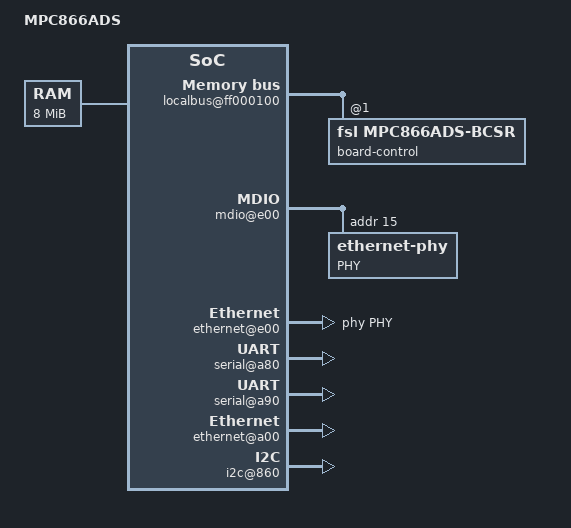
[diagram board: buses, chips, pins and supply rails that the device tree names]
// SPDX-License-Identifier: GPL-2.0-or-later
/*
 * MPC866 ADS Device Tree Source
 *
 * Copyright 2006 MontaVista Software, Inc.
 * Copyright 2008 Freescale Semiconductor, Inc.
 */

/dts-v1/;

/ {
	model = "MPC866ADS";
	compatible = "fsl,mpc866ads";
	#address-cells = <1>;
	#size-cells = <1>;

	cpus {
		#address-cells = <1>;
		#size-cells = <0>;

		PowerPC,866@0 {
			device_type = "cpu";
			reg = <0x0>;
			d-cache-line-size = <16>;	// 16 bytes
			i-cache-line-size = <16>;	// 16 bytes
			d-cache-size = <0x2000>;		// L1, 8K
			i-cache-size = <0x4000>;		// L1, 16K
			timebase-frequency = <0>;
			bus-frequency = <0>;
			clock-frequency = <0>;
			interrupts = <15 2>;	// decrementer interrupt
			interrupt-parent = <&PIC>;
		};
	};

	memory {
		device_type = "memory";
		reg = <0x0 0x800000>;
	};

	localbus@ff000100 {
		compatible = "fsl,mpc866-localbus", "fsl,pq1-localbus";
		#address-cells = <2>;
		#size-cells = <1>;
		reg = <0xff000100 0x40>;

		ranges = <
			0x1 0x0 0xff080000 0x8000
			0x5 0x0 0xff0a0000 0x8000
		>;

		board-control@1,0 {
			reg = <0x1 0x0 0x20 0x5 0x300 0x4>;
			compatible = "fsl,mpc866ads-bcsr";
		};
	};

	soc@ff000000 {
		#address-cells = <1>;
		#size-cells = <1>;
		device_type = "soc";
		ranges = <0x0 0xff000000 0x100000>;
		reg = <0xff000000 0x200>;
		bus-frequency = <0>;

		mdio@e00 {
			compatible = "fsl,mpc866-fec-mdio", "fsl,pq1-fec-mdio";
			reg = <0xe00 0x188>;
			#address-cells = <1>;
			#size-cells = <0>;
			PHY: ethernet-phy@f {
				reg = <0xf>;
			};
		};

		ethernet@e00 {
			device_type = "network";
			compatible = "fsl,mpc866-fec-enet",
			             "fsl,pq1-fec-enet";
			reg = <0xe00 0x188>;
			local-mac-address = [ 00 00 00 00 00 00 ];
			interrupts = <3 1>;
			interrupt-parent = <&PIC>;
			phy-handle = <&PHY>;
			linux,network-index = <0>;
		};

		PIC: pic@0 {
			interrupt-controller;
			#interrupt-cells = <2>;
			reg = <0x0 0x24>;
			compatible = "fsl,mpc866-pic", "fsl,pq1-pic";
		};

		cpm@9c0 {
			#address-cells = <1>;
			#size-cells = <1>;
			compatible = "fsl,mpc866-cpm", "fsl,cpm1";
			ranges;
			reg = <0x9c0 0x40>;
			brg-frequency = <0>;
			interrupts = <0 2>;	// cpm error interrupt
			interrupt-parent = <&CPM_PIC>;

			muram@2000 {
				#address-cells = <1>;
				#size-cells = <1>;
				ranges = <0x0 0x2000 0x2000>;

				data@0 {
					compatible = "fsl,cpm-muram-data";
					reg = <0x0 0x1c00>;
				};
			};

			brg@9f0 {
				compatible = "fsl,mpc866-brg",
					     "fsl,cpm1-brg",
					     "fsl,cpm-brg";
				reg = <0x9f0 0x10>;
				clock-frequency = <0>;
			};

			CPM_PIC: pic@930 {
				interrupt-controller;
				#address-cells = <0>;
				#interrupt-cells = <1>;
				interrupts = <5 2 0 2>;
				interrupt-parent = <&PIC>;
				reg = <0x930 0x20>;
				compatible = "fsl,mpc866-cpm-pic",
				             "fsl,cpm1-pic";
			};


			serial@a80 {
				device_type = "serial";
				compatible = "fsl,mpc866-smc-uart",
				             "fsl,cpm1-smc-uart";
				reg = <0xa80 0x10 0x3e80 0x40>;
				interrupts = <4>;
				interrupt-parent = <&CPM_PIC>;
				fsl,cpm-brg = <1>;
				fsl,cpm-command = <0x90>;
			};

			serial@a90 {
				device_type = "serial";
				compatible = "fsl,mpc866-smc-uart",
				             "fsl,cpm1-smc-uart";
				reg = <0xa90 0x10 0x3f80 0x40>;
				interrupts = <3>;
				interrupt-parent = <&CPM_PIC>;
				fsl,cpm-brg = <2>;
				fsl,cpm-command = <0xd0>;
			};

			ethernet@a00 {
				device_type = "network";
				compatible = "fsl,mpc866-scc-enet",
				             "fsl,cpm1-scc-enet";
				reg = <0xa00 0x18 0x3c00 0x100>;
				local-mac-address = [ 00 00 00 00 00 00 ];
				interrupts = <30>;
				interrupt-parent = <&CPM_PIC>;
				fsl,cpm-command = <0000>;
				linux,network-index = <1>;
			};

			i2c@860 {
				compatible = "fsl,mpc866-i2c",
					     "fsl,cpm1-i2c";
				reg = <0x860 0x20 0x3c80 0x30>;
				interrupts = <16>;
				interrupt-parent = <&CPM_PIC>;
				fsl,cpm-command = <0x10>;
				#address-cells = <1>;
				#size-cells = <0>;
			};
		};
	};

	chosen {
		stdout-path = "/soc/cpm/serial@a80";
	};
};
